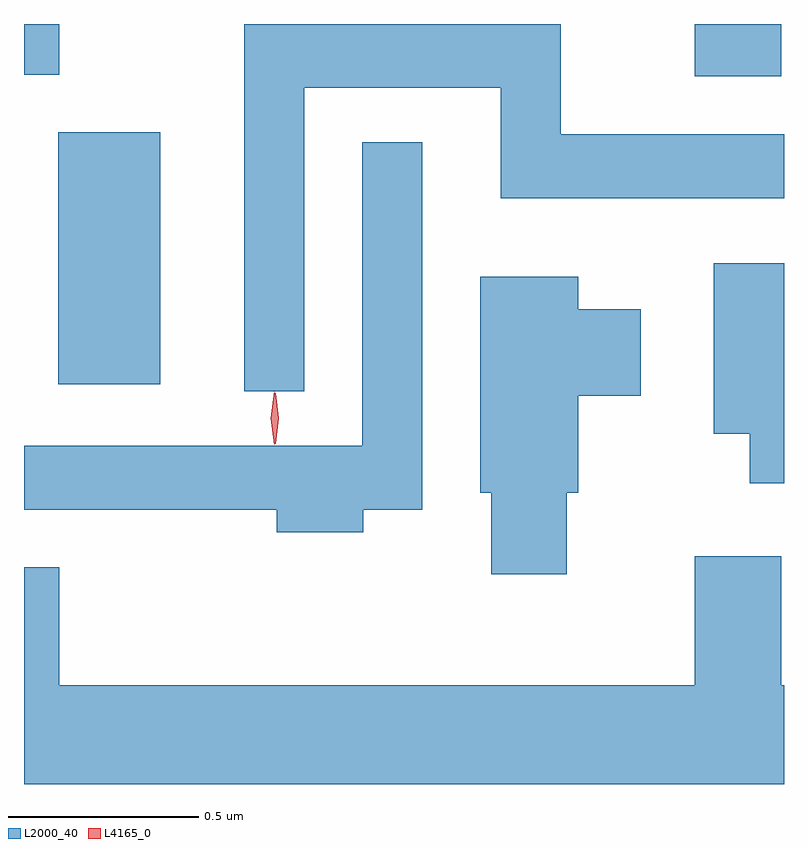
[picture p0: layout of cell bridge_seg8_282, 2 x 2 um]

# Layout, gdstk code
import gdstk
lib = gdstk.Library(unit=1e-6, precision=1e-09)
def R(c, l, rs):  # rectangles x0, y0, x1, y1
    for r in rs: c.add(gdstk.rectangle(r[:2], r[2:], *l))
def P(c, l, *ps):  # polygons
    for p in ps: c.add(gdstk.Polygon(p, *l))
L2000_40 = (2000, 40)
L4165_0 = (4165, 0)

bridge_seg8_282 = lib.new_cell('bridge_seg8_282')
R(bridge_seg8_282, L2000_40, [(1317.496,1815.276,1317.764,1815.939), (1319.171,1816.086,1319.399,1816.224), (1317.406,1816.091,1317.499,1816.224)])
P(bridge_seg8_282, L2000_40, [(1318.144,1816.056),(1318.661,1816.056),(1318.661,1815.766),(1319.406,1815.766),(1319.406,1815.934),(1318.819,1815.934),(1318.819,1816.224),(1317.986,1816.224),(1317.986,1815.258),(1318.144,1815.258)],
  [(1318.299,1814.946),(1318.454,1814.946),(1318.454,1815.913),(1318.296,1815.913),(1318.296,1815.114),(1317.406,1815.114),(1317.406,1814.946),(1318.071,1814.946),(1318.071,1814.886),(1318.299,1814.886)],
  [(1319.406,1815.594),(1319.221,1815.594),(1319.221,1815.146),(1319.316,1815.146),(1319.316,1815.016),(1319.406,1815.016)],
  [(1318.834,1814.991),(1318.864,1814.991),(1318.864,1815.246),(1319.029,1815.246),(1319.029,1815.474),(1318.864,1815.474),(1318.864,1815.559),(1318.606,1815.559),(1318.606,1814.991),(1318.636,1814.991),(1318.636,1814.776),(1318.834,1814.776)],
  [(1319.406,1814.484),(1319.399,1814.484),(1319.399,1814.824),(1319.171,1814.824),(1319.171,1814.484),(1317.499,1814.484),(1317.499,1814.794),(1317.406,1814.794),(1317.406,1814.224),(1319.406,1814.224)])
P(bridge_seg8_282, L4165_0, [(1318.067,1815.119),(1318.066,1815.12),(1318.057,1815.186),(1318.066,1815.252),(1318.067,1815.253),(1318.068,1815.252),(1318.077,1815.186),(1318.068,1815.12)],
  [(1318.064,1815.117),(1318.055,1815.186),(1318.064,1815.256),(1318.065,1815.256),(1318.065,1815.256),(1318.075,1815.186),(1318.065,1815.117),(1318.065,1815.117)])

lib.write_gds('bridge_seg8_282.gds')
